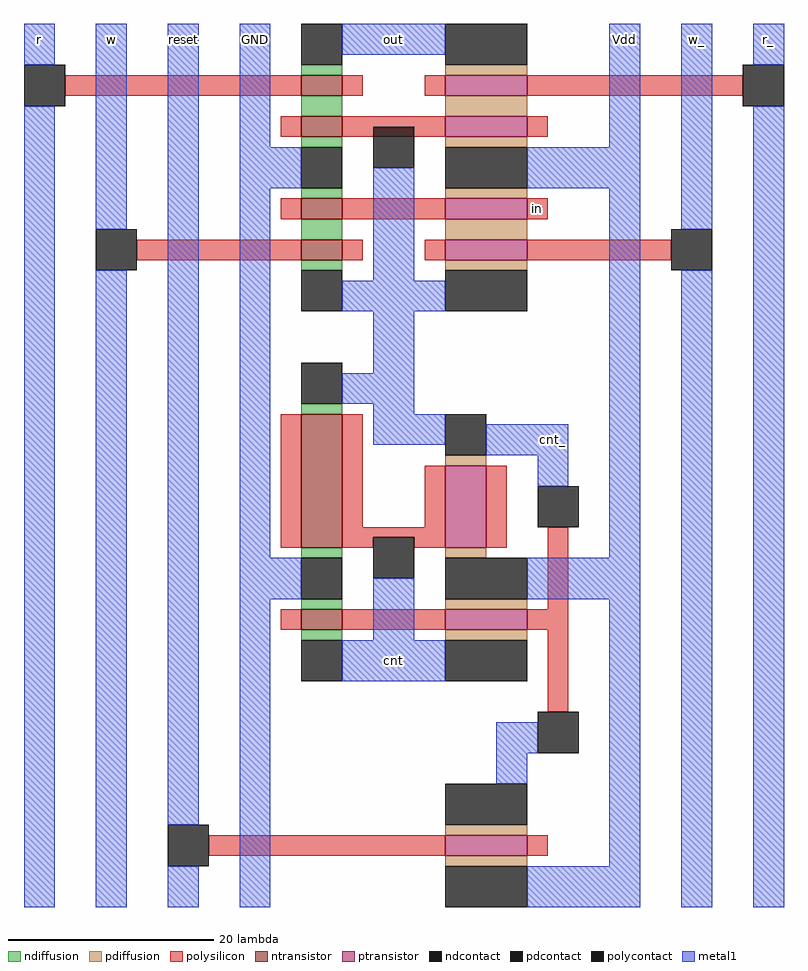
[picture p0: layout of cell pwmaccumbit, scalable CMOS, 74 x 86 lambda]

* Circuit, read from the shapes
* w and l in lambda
.subckt pwmaccumbit GND Vdd cnt cnt_ in out r r_ reset w w_
M1 GND cnt_ cnt VSUBS nfet w=4 l=2
M2 cnt_ cnt GND VSUBS nfet w=4 l=13
M3 n1 w cnt_ VSUBS nfet w=4 l=2
M4 GND in n1 VSUBS nfet w=4 l=2
M5 n2 cnt_ GND VSUBS nfet w=4 l=2
M6 out r n2 VSUBS nfet w=4 l=2
M7 cnt_ reset Vdd NWELL pfet w=8 l=2
M8 Vdd cnt_ cnt NWELL pfet w=8 l=2
M9 cnt_ cnt Vdd NWELL pfet w=4 l=8
M10 n3 w_ cnt_ NWELL pfet w=8 l=2
M11 Vdd in n3 NWELL pfet w=8 l=2
M12 n4 cnt_ Vdd NWELL pfet w=8 l=2
M13 out r_ n4 NWELL pfet w=8 l=2
.ends

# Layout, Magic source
magic
tech scmos
<< polysilicon >>
rect -40 14 -19 16
rect 7 14 26 16
rect 5 2 7 4
rect -33 -2 -19 0
rect 7 -2 19 0
rect 7 -46 9 -38
rect -26 -60 -3 -58
rect 5 -60 7 -58
<< pdiffusion >>
rect -3 -58 5 -57
rect -3 -61 5 -60
<< metal1 >>
rect -44 17 -41 21
rect -44 -65 -41 13
rect -37 1 -34 21
rect -37 -65 -34 -3
rect -30 -57 -27 21
rect -23 9 -20 21
rect -9 18 -7 21
rect -23 5 -17 9
rect 13 9 16 21
rect -23 -31 -20 5
rect -10 -20 -6 7
rect 5 5 16 9
rect 6 -21 9 -18
rect 13 -31 16 5
rect 20 1 23 21
rect 27 17 30 21
rect -23 -35 -17 -31
rect 11 -35 16 -31
rect -30 -65 -27 -61
rect -23 -65 -20 -35
rect -10 -43 -6 -39
rect 2 -50 6 -47
rect 2 -53 5 -50
rect 13 -61 16 -35
rect 5 -65 16 -61
rect 20 -65 23 -3
rect 27 -65 30 13
<< ptransistor >>
rect -3 -60 5 -58
<< polycontact >>
rect -44 13 -40 17
rect 26 13 30 17
rect -10 7 -6 11
rect -37 -3 -33 1
rect 19 -3 23 1
rect 6 -50 10 -46
rect -30 -61 -26 -57
<< pdcontact >>
rect -3 -57 5 -53
rect -3 -65 5 -61
use latch  latch_1
transform 0 1 -17 1 0 11
box -6 -2 10 24
use latch  latch_0
transform 0 1 -17 -1 0 3
box -6 -2 10 24
use staticizer  staticizer_0
transform 0 1 -21 -1 0 -31
box -19 2 12 32
<< labels >>
rlabel metal1 -10 -43 -6 -39 1 cnt
rlabel metal1 -9 18 -7 21 5 out
rlabel polysilicon 5 2 7 4 7 in
rlabel metal1 -23 18 -20 21 5 GND
rlabel metal1 13 18 16 21 5 Vdd
rlabel metal1 20 18 23 21 5 w_
rlabel metal1 -30 18 -27 21 5 reset
rlabel metal1 -37 18 -34 21 5 w
rlabel metal1 -44 18 -41 21 4 r
rlabel metal1 27 18 30 21 6 r_
rlabel metal1 6 -21 9 -18 1 cnt_
<< end >>

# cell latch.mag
magic
tech scmos
<< polysilicon >>
rect -1 22 1 24
rect 3 22 5 24
rect -1 4 1 14
rect 3 12 5 14
rect 3 4 5 6
rect -1 -2 1 0
rect 3 -2 5 0
<< ndiffusion >>
rect -2 0 -1 4
rect 1 0 3 4
rect 5 0 6 4
<< pdiffusion >>
rect -2 14 -1 22
rect 1 14 3 22
rect 5 14 6 22
<< metal1 >>
rect 7 4 10 14
<< ntransistor >>
rect -1 0 1 4
rect 3 0 5 4
<< ptransistor >>
rect -1 14 1 22
rect 3 14 5 22
<< ndcontact >>
rect -6 0 -2 4
rect 6 0 10 4
<< pdcontact >>
rect -6 14 -2 22
rect 6 14 10 22
<< labels >>
rlabel polysilicon 3 22 5 24 5 latch_
rlabel polysilicon 3 -2 5 0 1 latch
rlabel pdcontact -6 14 -2 22 3 Vdd
rlabel ndcontact -6 0 -2 4 2 GND
rlabel polysilicon -1 8 1 10 1 in
rlabel metal1 7 8 10 10 7 out
<< end >>

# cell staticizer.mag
magic
tech scmos
<< polysilicon >>
rect -3 28 7 30
rect -9 22 -1 24
rect -9 16 -1 18
rect -3 15 -1 16
rect -3 11 -2 15
rect -3 10 -1 11
rect -14 8 -1 10
rect -14 2 -1 4
<< ndiffusion >>
rect -15 4 -14 8
rect -1 4 0 8
<< pdiffusion >>
rect -10 18 -9 22
rect -1 18 0 22
<< metal1 >>
rect -13 27 -7 30
rect -13 22 -10 27
rect 0 26 4 32
rect -14 14 -11 18
rect -18 11 -11 14
rect 2 11 12 15
rect -18 8 -15 11
<< ntransistor >>
rect -14 4 -1 8
<< ptransistor >>
rect -9 18 -1 22
<< polycontact >>
rect -7 27 -3 31
rect -2 11 2 15
<< ndcontact >>
rect -19 4 -15 8
rect 0 4 4 8
<< pdcontact >>
rect -14 18 -10 22
rect 0 18 4 26
use inverter  inverter_0
transform 1 0 5 0 1 -3
box -5 5 7 31
<< labels >>
rlabel metal1 0 28 4 32 5 Vdd
rlabel ndcontact 0 4 4 8 1 GND
rlabel polycontact -7 27 -3 31 5 in
<< end >>

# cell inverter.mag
magic
tech scmos
<< polysilicon >>
rect 0 29 2 31
rect 0 11 2 21
rect 0 5 2 7
<< ndiffusion >>
rect -1 7 0 11
rect 2 7 3 11
<< pdiffusion >>
rect -1 21 0 29
rect 2 21 3 29
<< metal1 >>
rect 3 11 7 21
<< ntransistor >>
rect 0 7 2 11
<< ptransistor >>
rect 0 21 2 29
<< ndcontact >>
rect -5 7 -1 11
rect 3 7 7 11
<< pdcontact >>
rect -5 21 -1 29
rect 3 21 7 29
<< labels >>
rlabel metal1 5 16 5 16 7 out
<< end >>
